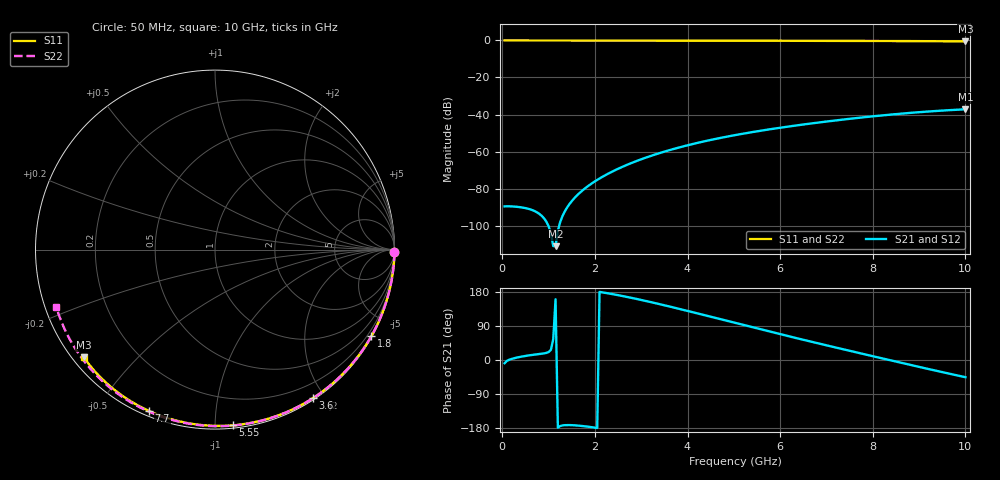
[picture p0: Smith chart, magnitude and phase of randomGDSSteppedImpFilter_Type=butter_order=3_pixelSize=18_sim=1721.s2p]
! freq	dB(S11)	phase(S11)	dB(S12)	phase(S12)
!  dB(S21)	phase(S21)	dB(S22)	phase(S22)
!S-par simulation data
#  GHz  S  DB  R 50
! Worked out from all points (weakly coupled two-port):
!   200 points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, 50 MHz to 10 GHz, reference 50 ohm
!   highest |S21| = -37.17 dB at 10 GHz (marker M1); lowest = -111.1 dB at 1.15 GHz (marker M2)
!   lowest |S11| = -0.5 dB at 10 GHz (marker M3), VSWR 36.05, Z = 1.56 - j17.9 ohm
!   |S11| at or under -10 dB: nowhere
!   |S22| runs from -0.5 to 0.0 dB; largest |S21 - S12| = 0
!   S11 on the Smith chart (normalised r, x): 50 MHz: open; 1.8 GHz: 0.03, -3.87; 3.6 GHz: 0.02, -1.86; 5.55 GHz: 0.02, -1.11; 7.7 GHz: 0.02, -0.67; 10 GHz: 0.03, -0.36
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0.05  -0.00 -0.8  -89.60 -8.4  -89.60 -8.4  -0.00 -0.9
0.6  -0.01 -9.8  -91.17 12.6  -91.17 12.6  -0.01 -11.0
1.15  -0.02 -18.6  -111.07 160.2  -111.07 160.2  -0.03 -21.0
1.75  -0.04 -28.2  -80.59 -174.5  -80.59 -174.5  -0.04 -31.8
1.8  -0.04 -29.0  -79.60 -175.2  -79.60 -175.2  -0.04 -32.7
1.95  -0.04 -31.3  -76.89 -177.6  -76.89 -177.6  -0.04 -35.3
2.1  -0.04 -33.7  -74.52 179.7  -74.52 179.7  -0.05 -38.0
2.45  -0.05 -39.1  -69.88 172.3  -69.88 172.3  -0.06 -44.1
2.65  -0.05 -42.2  -67.61 167.5  -67.61 167.5  -0.06 -47.5
2.9  -0.06 -46.0  -65.09 161.1  -65.09 161.1  -0.07 -51.8
3.4  -0.07 -53.5  -60.78 147.3  -60.78 147.3  -0.08 -60.2
3.6  -0.08 -56.5  -59.29 141.5  -59.29 141.5  -0.09 -63.6
3.95  -0.08 -61.6  -56.92 131.0  -56.92 131.0  -0.10 -69.3
4.3  -0.09 -66.7  -54.81 120.3  -54.81 120.3  -0.11 -75.0
5.05  -0.12 -77.3  -51.00 97.1  -51.00 97.1  -0.13 -86.8
5.55  -0.14 -84.2  -48.85 81.8  -48.85 81.8  -0.16 -94.5
6.1  -0.16 -91.5  -46.76 65.2  -46.76 65.2  -0.18 -102.8
6.7  -0.19 -99.4  -44.72 47.4  -44.72 47.4  -0.22 -111.7
7.7  -0.25 -112.2  -41.75 18.6  -41.75 18.6  -0.29 -126.3
8.35  -0.30 -120.3  -40.11 0.1  -40.11 0.1  -0.35 -135.7
9.2  -0.38 -130.8  -38.36 -23.7  -38.36 -23.7  -0.43 -148.2
10  -0.48 -140.7  -37.17 -45.4  -37.17 -45.4  -0.54 -160.2
